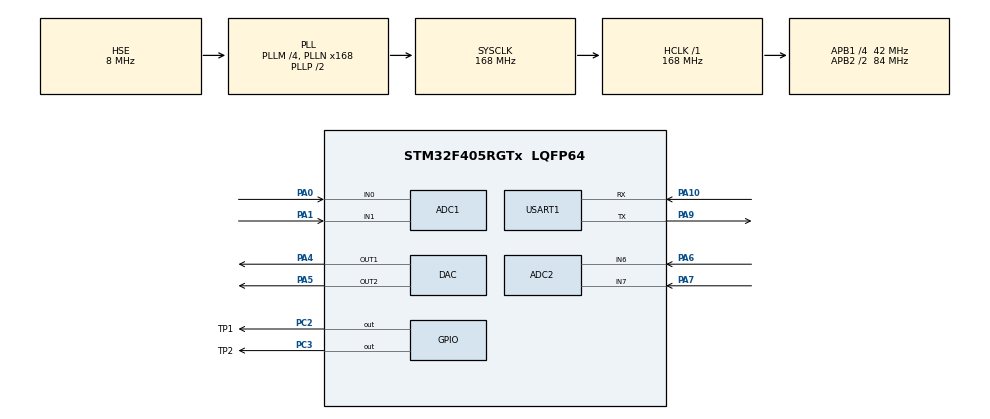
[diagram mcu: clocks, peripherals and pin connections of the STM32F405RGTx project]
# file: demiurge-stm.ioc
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ADC1.Channel-0\#ChannelRegularConversion=ADC_CHANNEL_0
ADC1.ClockPrescaler=ADC_CLOCK_SYNC_PCLK_DIV6
ADC1.ContinuousConvMode=ENABLE
ADC1.DMAContinuousRequests=DISABLE
ADC1.EOCSelection=ADC_EOC_SEQ_CONV
ADC1.NbrOfConversionFlag=1
ADC1.Rank-0\#ChannelRegularConversion=1
ADC1.SamplingTime-0\#ChannelRegularConversion=ADC_SAMPLETIME_3CYCLES
ADC1.ScanConvMode=ENABLE
ADC1.master=1
ADC2.Channel-1\#ChannelRegularConversion=ADC_CHANNEL_6
ADC2.ClockPrescaler=ADC_CLOCK_SYNC_PCLK_DIV6
ADC2.ContinuousConvMode=ENABLE
ADC2.DMAContinuousRequests=DISABLE
ADC2.NbrOfConversion=1
ADC2.NbrOfConversionFlag=1
ADC2.Rank-1\#ChannelRegularConversion=1
ADC2.SamplingTime-1\#ChannelRegularConversion=ADC_SAMPLETIME_3CYCLES
ADC2.ScanConvMode=ENABLE
DAC.DAC_OutputBuffer=DAC_OUTPUTBUFFER_DISABLE
DAC.DAC_OutputBuffer2=DAC_OUTPUTBUFFER_DISABLE
Mcu.Family=STM32F4
Mcu.Name=STM32F405RGTx
Mcu.Package=LQFP64
NVIC.PriorityGroup=NVIC_PRIORITYGROUP_4
NVIC.TIM7_IRQn=true\:0\:0\:false\:false\:true\:true\:true
PA0-WKUP.Signal=ADCx_IN0
PA1.Signal=ADCx_IN1
PA10.Mode=Asynchronous
PA10.Signal=USART1_RX
PA13.Mode=Serial_Wire
PA13.Signal=SYS_JTMS-SWDIO
PA14.Mode=Serial_Wire
PA14.Signal=SYS_JTCK-SWCLK
PA4.Signal=COMP_DAC1_group
PA5.Signal=COMP_DAC2_group
PA6.Signal=ADCx_IN6
PA7.Signal=ADCx_IN7
PA9.Mode=Asynchronous
PA9.Signal=USART1_TX
PC2.GPIO_Label=TP1
PC2.Signal=GPIO_Output
PC3.GPIO_Label=TP2
PC3.Signal=GPIO_Output
PH0-OSC_IN.Mode=HSE-External-Oscillator
PH0-OSC_IN.Signal=RCC_OSC_IN
PH1-OSC_OUT.Mode=HSE-External-Oscillator
PH1-OSC_OUT.Signal=RCC_OSC_OUT
ProjectManager.HeapSize=0x200
ProjectManager.StackSize=0x400
ProjectManager.TargetToolchain=STM32CubeIDE
RCC.48MHZClocksFreq_Value=48000000
RCC.AHBFreq_Value=168000000
RCC.APB1CLKDivider=RCC_HCLK_DIV4
RCC.APB1Freq_Value=42000000
RCC.APB1TimFreq_Value=84000000
RCC.APB2CLKDivider=RCC_HCLK_DIV2
RCC.APB2Freq_Value=84000000
RCC.APB2TimFreq_Value=168000000
RCC.CortexFreq_Value=168000000
RCC.HCLKFreq_Value=168000000
RCC.HSE_VALUE=8000000
RCC.HSI_VALUE=16000000
RCC.LSE_VALUE=32768
RCC.PLLM=4
RCC.PLLN=168
RCC.PLLQ=7
RCC.PLLSourceVirtual=RCC_PLLSOURCE_HSE
RCC.SYSCLKFreq_VALUE=168000000
RCC.SYSCLKSource=RCC_SYSCLKSOURCE_PLLCLK
RCC.VCOOutputFreq_Value=336000000
SH.ADCx_IN0.0=ADC1_IN0,IN0
SH.ADCx_IN1.0=ADC1_IN1,IN1
SH.ADCx_IN6.0=ADC2_IN6,IN6
SH.ADCx_IN7.0=ADC2_IN7,IN7
SH.COMP_DAC1_group.0=DAC_OUT1,DAC_OUT1
SH.COMP_DAC2_group.0=DAC_OUT2,DAC_OUT2
STMicroelectronics.X-CUBE-ALGOBUILD.1.0.0.LibraryCcDSPOoLibraryJjDSPOoLibrary=true
TIM7.AutoReloadPreload=TIM_AUTORELOAD_PRELOAD_DISABLE
TIM7.Period=period
TIM7.Prescaler=0
TIM7.TIM_MasterOutputTrigger=TIM_TRGO_UPDATE
USART1.VirtualMode=VM_ASYNC
VP_RNG_VS_RNG.Mode=RNG_Activate
VP_STMicroelectronics.X-CUBE-ALGOBUILD_VS_DSPOoLibraryJjLibrary_1.0.0.Mode=DSPOoLibraryJjLibrary
VP_TIM7_VS_ClockSourceINT.Mode=Enable_Timer
VP_TIM8_VS_ClockSourceINT.Mode=Internal
board=custom

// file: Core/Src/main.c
/* USER CODE BEGIN Header */
/*
  Copyright 2019, Awesome Audio Apparatus.

Licensed under the Apache License, Version 2.0 (the "License");
you may not use this file except in compliance with the License.
You may obtain a copy of the License at

      https://www.apache.org/licenses/LICENSE-2.0

Unless required by applicable law or agreed to in writing, software
distributed under the License is distributed on an "AS IS" BASIS,
WITHOUT WARRANTIES OR CONDITIONS OF ANY KIND, either express or implied.
See the License for the specific language governing permissions and
      limitations under the License.
*/

/* USER CODE END Header */
#include "main.h"

/* USER CODE BEGIN Includes */
#include "demiurge.h"

/* USER CODE END Includes */

ADC_HandleTypeDef hadc1;
ADC_HandleTypeDef hadc2;

DAC_HandleTypeDef hdac;

RNG_HandleTypeDef hrng;

TIM_HandleTypeDef htim7;
TIM_HandleTypeDef htim8;

UART_HandleTypeDef huart1;

/* USER CODE BEGIN PV */
UART_HandleTypeDef *huart_log = &huart1;

/* USER CODE END PV */

void SystemClock_Config(void);
static void MX_GPIO_Init(void);
static void MX_ADC1_Init(void);
static void MX_ADC2_Init(void);
static void MX_DAC_Init(void);
static void MX_RNG_Init(void);
static void MX_USART1_UART_Init(void);
static void MX_TIM7_Init(void);
static void MX_TIM8_Init(void);
/* USER CODE BEGIN PFP */

extern void vco_setup();
extern void vco_loop();
extern void envelope_setup();
extern void envelope_loop();
extern void vca_setup();
extern void vca_loop();
extern void lfo_setup();
extern void lfo_loop();
extern void mixer_setup();
extern void mixer_loop();

/* USER CODE END PFP */

int main(void)
{

  /* MCU Configuration--------------------------------------------------------*/

  /* Reset of all peripherals, Initializes the Flash interface and the Systick. */
  HAL_Init();

  /* USER CODE BEGIN Init */
    demiurge_samplerate = DEFAULT_SAMPLE_RATE;
  /* USER CODE END Init */

  /* Configure the system clock */
  SystemClock_Config();

  /* Initialize all configured peripherals */
  MX_GPIO_Init();
  MX_ADC1_Init();
  MX_ADC2_Init();
  MX_DAC_Init();
  MX_RNG_Init();
  MX_USART1_UART_Init();
  MX_TIM7_Init();
  MX_TIM8_Init();

  /* Infinite loop */
  /* USER CODE BEGIN WHILE */
   demiurge_start();
   // Temporary Examples until we stablize and get into Arduino mode
   // Each of the following create_xxx() is an example, in separate source file
   // that looks very close to how the Arduino examples will look like
   vco_setup();
//   envelope_setup();
//   vca_setup();
//   lfo_setup();
//   mixer_setup();
   while (1) {
      vco_loop();       // User code.
//      envelope_loop();
//      vca_loop();
//      lfo_loop();
//      mixer_loop();

    /* USER CODE END WHILE */

   }
}

void SystemClock_Config(void)
{
  RCC_OscInitTypeDef RCC_OscInitStruct = {0};
  RCC_ClkInitTypeDef RCC_ClkInitStruct = {0};

  /** Configure the main internal regulator output voltage
  */
  __HAL_RCC_PWR_CLK_ENABLE();
  __HAL_PWR_VOLTAGESCALING_CONFIG(PWR_REGULATOR_VOLTAGE_SCALE1);
  /** Initializes the RCC Oscillators according to the specified parameters
  * in the RCC_OscInitTypeDef structure.
  */
  RCC_OscInitStruct.OscillatorType = RCC_OSCILLATORTYPE_HSE;
  RCC_OscInitStruct.HSEState = RCC_HSE_ON;
  RCC_OscInitStruct.PLL.PLLState = RCC_PLL_ON;
  RCC_OscInitStruct.PLL.PLLSource = RCC_PLLSOURCE_HSE;
  RCC_OscInitStruct.PLL.PLLM = 4;
  RCC_OscInitStruct.PLL.PLLN = 168;
  RCC_OscInitStruct.PLL.PLLP = RCC_PLLP_DIV2;
  RCC_OscInitStruct.PLL.PLLQ = 7;
  if (HAL_RCC_OscConfig(&RCC_OscInitStruct) != HAL_OK)
  {
    Error_Handler();
  }
  /** Initializes the CPU, AHB and APB buses clocks
  */
  RCC_ClkInitStruct.ClockType = RCC_CLOCKTYPE_HCLK|RCC_CLOCKTYPE_SYSCLK
                              |RCC_CLOCKTYPE_PCLK1|RCC_CLOCKTYPE_PCLK2;
  RCC_ClkInitStruct.SYSCLKSource = RCC_SYSCLKSOURCE_PLLCLK;
  RCC_ClkInitStruct.AHBCLKDivider = RCC_SYSCLK_DIV1;
  RCC_ClkInitStruct.APB1CLKDivider = RCC_HCLK_DIV4;
  RCC_ClkInitStruct.APB2CLKDivider = RCC_HCLK_DIV2;

  if (HAL_RCC_ClockConfig(&RCC_ClkInitStruct, FLASH_LATENCY_5) != HAL_OK)
  {
    Error_Handler();
  }
}

static void MX_ADC1_Init(void)
{

  ADC_ChannelConfTypeDef sConfig = {0};

  /** Configure the global features of the ADC (Clock, Resolution, Data Alignment and number of conversion)
  */
  hadc1.Instance = ADC1;
  hadc1.Init.ClockPrescaler = ADC_CLOCK_SYNC_PCLK_DIV6;
  hadc1.Init.Resolution = ADC_RESOLUTION_12B;
  hadc1.Init.ScanConvMode = ENABLE;
  hadc1.Init.ContinuousConvMode = ENABLE;
  hadc1.Init.DiscontinuousConvMode = DISABLE;
  hadc1.Init.ExternalTrigConvEdge = ADC_EXTERNALTRIGCONVEDGE_NONE;
  hadc1.Init.ExternalTrigConv = ADC_SOFTWARE_START;
  hadc1.Init.DataAlign = ADC_DATAALIGN_RIGHT;
  hadc1.Init.NbrOfConversion = 1;
  hadc1.Init.DMAContinuousRequests = DISABLE;
  hadc1.Init.EOCSelection = ADC_EOC_SEQ_CONV;
  if (HAL_ADC_Init(&hadc1) != HAL_OK)
  {
    Error_Handler();
  }
  /** Configure for the selected ADC regular channel its corresponding rank in the sequencer and its sample time.
  */
  sConfig.Channel = ADC_CHANNEL_0;
  sConfig.Rank = 1;
  sConfig.SamplingTime = ADC_SAMPLETIME_3CYCLES;
  if (HAL_ADC_ConfigChannel(&hadc1, &sConfig) != HAL_OK)
  {
    Error_Handler();
  }

}

static void MX_ADC2_Init(void)
{

  ADC_ChannelConfTypeDef sConfig = {0};

  /** Configure the global features of the ADC (Clock, Resolution, Data Alignment and number of conversion)
  */
  hadc2.Instance = ADC2;
  hadc2.Init.ClockPrescaler = ADC_CLOCK_SYNC_PCLK_DIV6;
  hadc2.Init.Resolution = ADC_RESOLUTION_12B;
  hadc2.Init.ScanConvMode = ENABLE;
  hadc2.Init.ContinuousConvMode = ENABLE;
  hadc2.Init.DiscontinuousConvMode = DISABLE;
  hadc2.Init.ExternalTrigConvEdge = ADC_EXTERNALTRIGCONVEDGE_NONE;
  hadc2.Init.ExternalTrigConv = ADC_SOFTWARE_START;
  hadc2.Init.DataAlign = ADC_DATAALIGN_RIGHT;
  hadc2.Init.NbrOfConversion = 1;
  hadc2.Init.DMAContinuousRequests = DISABLE;
  hadc2.Init.EOCSelection = ADC_EOC_SINGLE_CONV;
  if (HAL_ADC_Init(&hadc2) != HAL_OK)
  {
    Error_Handler();
  }
  /** Configure for the selected ADC regular channel its corresponding rank in the sequencer and its sample time.
  */
  sConfig.Channel = ADC_CHANNEL_6;
  sConfig.Rank = 1;
  sConfig.SamplingTime = ADC_SAMPLETIME_3CYCLES;
  if (HAL_ADC_ConfigChannel(&hadc2, &sConfig) != HAL_OK)
  {
    Error_Handler();
  }

}

static void MX_DAC_Init(void)
{

  DAC_ChannelConfTypeDef sConfig = {0};

  /** DAC Initialization
  */
  hdac.Instance = DAC;
  if (HAL_DAC_Init(&hdac) != HAL_OK)
  {
    Error_Handler();
  }
  /** DAC channel OUT1 config
  */
  sConfig.DAC_Trigger = DAC_TRIGGER_NONE;
  sConfig.DAC_OutputBuffer = DAC_OUTPUTBUFFER_DISABLE;
  if (HAL_DAC_ConfigChannel(&hdac, &sConfig, DAC_CHANNEL_1) != HAL_OK)
  {
    Error_Handler();
  }
  /** DAC channel OUT2 config
  */
  if (HAL_DAC_ConfigChannel(&hdac, &sConfig, DAC_CHANNEL_2) != HAL_OK)
  {
    Error_Handler();
  }

}

static void MX_RNG_Init(void)
{

  hrng.Instance = RNG;
  if (HAL_RNG_Init(&hrng) != HAL_OK)
  {
    Error_Handler();
  }

}

static void MX_TIM7_Init(void)
{

  TIM_MasterConfigTypeDef sMasterConfig = {0};

  /* USER CODE BEGIN TIM7_Init 1 */
  uint32_t prescale = 0;
  uint32_t period = (84000000 / samplerate) - 1;

  /* USER CODE END TIM7_Init 1 */
  htim7.Instance = TIM7;
  htim7.Init.Prescaler = 0;
  htim7.Init.CounterMode = TIM_COUNTERMODE_UP;
  htim7.Init.Period = period;
  htim7.Init.AutoReloadPreload = TIM_AUTORELOAD_PRELOAD_DISABLE;
  if (HAL_TIM_Base_Init(&htim7) != HAL_OK)
  {
    Error_Handler();
  }
  sMasterConfig.MasterOutputTrigger = TIM_TRGO_UPDATE;
  sMasterConfig.MasterSlaveMode = TIM_MASTERSLAVEMODE_DISABLE;
  if (HAL_TIMEx_MasterConfigSynchronization(&htim7, &sMasterConfig) != HAL_OK)
  {
    Error_Handler();
  }

}

static void MX_TIM8_Init(void)
{

  TIM_ClockConfigTypeDef sClockSourceConfig = {0};
  TIM_MasterConfigTypeDef sMasterConfig = {0};

  htim8.Instance = TIM8;
  htim8.Init.Prescaler = 0;
  htim8.Init.CounterMode = TIM_COUNTERMODE_UP;
  htim8.Init.Period = 65535;
  htim8.Init.ClockDivision = TIM_CLOCKDIVISION_DIV1;
  htim8.Init.RepetitionCounter = 0;
  htim8.Init.AutoReloadPreload = TIM_AUTORELOAD_PRELOAD_DISABLE;
  if (HAL_TIM_Base_Init(&htim8) != HAL_OK)
  {
    Error_Handler();
  }
  sClockSourceConfig.ClockSource = TIM_CLOCKSOURCE_INTERNAL;
  if (HAL_TIM_ConfigClockSource(&htim8, &sClockSourceConfig) != HAL_OK)
  {
    Error_Handler();
  }
  sMasterConfig.MasterOutputTrigger = TIM_TRGO_RESET;
  sMasterConfig.MasterSlaveMode = TIM_MASTERSLAVEMODE_DISABLE;
  if (HAL_TIMEx_MasterConfigSynchronization(&htim8, &sMasterConfig) != HAL_OK)
  {
    Error_Handler();
  }

}

static void MX_USART1_UART_Init(void)
{

  huart1.Instance = USART1;
  huart1.Init.BaudRate = 115200;
  huart1.Init.WordLength = UART_WORDLENGTH_8B;
  huart1.Init.StopBits = UART_STOPBITS_1;
  huart1.Init.Parity = UART_PARITY_NONE;
  huart1.Init.Mode = UART_MODE_TX_RX;
  huart1.Init.HwFlowCtl = UART_HWCONTROL_NONE;
  huart1.Init.OverSampling = UART_OVERSAMPLING_16;
  if (HAL_UART_Init(&huart1) != HAL_OK)
  {
    Error_Handler();
  }

}

static void MX_GPIO_Init(void)
{
  GPIO_InitTypeDef GPIO_InitStruct = {0};

  /* GPIO Ports Clock Enable */
  __HAL_RCC_GPIOH_CLK_ENABLE();
  __HAL_RCC_GPIOC_CLK_ENABLE();
  __HAL_RCC_GPIOA_CLK_ENABLE();

  /*Configure GPIO pin Output Level */
  HAL_GPIO_WritePin(GPIOC, TP1_Pin|TP2_Pin, GPIO_PIN_RESET);

  /*Configure GPIO pins : TP1_Pin TP2_Pin */
  GPIO_InitStruct.Pin = TP1_Pin|TP2_Pin;
  GPIO_InitStruct.Mode = GPIO_MODE_OUTPUT_PP;
  GPIO_InitStruct.Pull = GPIO_NOPULL;
  GPIO_InitStruct.Speed = GPIO_SPEED_FREQ_LOW;
  HAL_GPIO_Init(GPIOC, &GPIO_InitStruct);

}

void Error_Handler(void)
{
}

/************************ (C) COPYRIGHT STMicroelectronics *****END OF FILE****/
